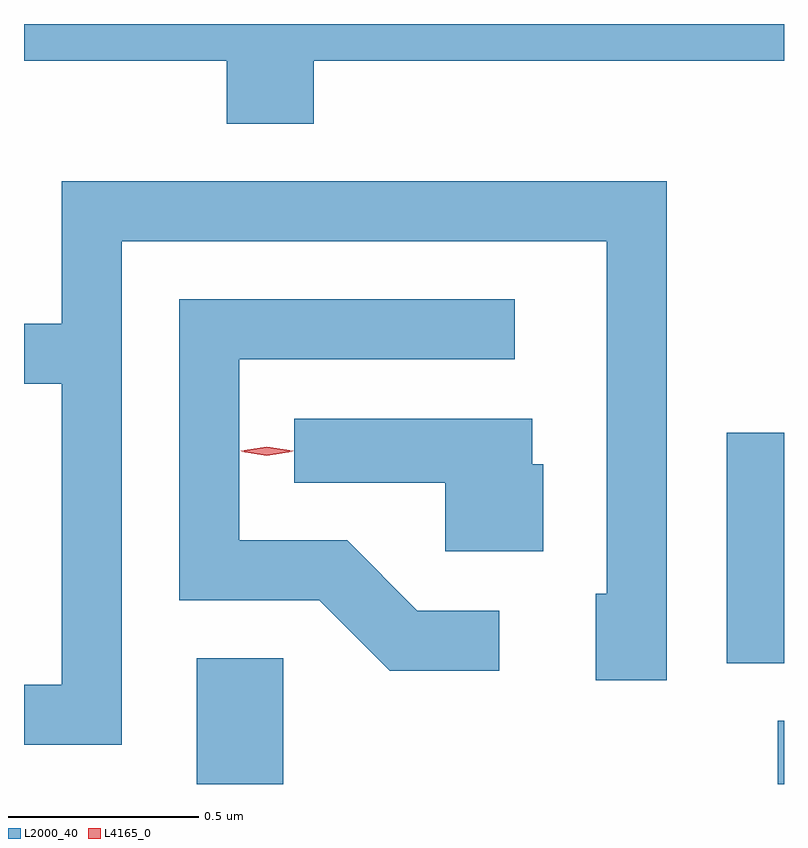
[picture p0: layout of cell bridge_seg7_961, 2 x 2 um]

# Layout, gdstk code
import gdstk
lib = gdstk.Library(unit=1e-6, precision=1e-09)
def R(c, l, rs):  # rectangles x0, y0, x1, y1
    for r in rs: c.add(gdstk.rectangle(r[:2], r[2:], *l))
def P(c, l, *ps):  # polygons
    for p in ps: c.add(gdstk.Polygon(p, *l))
L2000_40 = (2000, 40)
L4165_0 = (4165, 0)

bridge_seg7_961 = lib.new_cell('bridge_seg7_961')
R(bridge_seg7_961, L2000_40, [(605.701,1694.653,605.929,1694.984), (607.231,1694.653,607.247,1694.819), (607.096,1694.971,607.247,1695.578)])
P(bridge_seg7_961, L2000_40, [(606.009,1696.556),(607.247,1696.556),(607.247,1696.653),(605.247,1696.653),(605.247,1696.556),(605.781,1696.556),(605.781,1696.391),(606.009,1696.391)],
  [(605.504,1696.081),(606.781,1696.081),(606.781,1695.154),(606.751,1695.154),(606.751,1694.926),(606.939,1694.926),(606.939,1696.239),(605.346,1696.239),(605.346,1695.864),(605.247,1695.864),(605.247,1695.706),(605.346,1695.706),(605.346,1694.914),(605.247,1694.914),(605.247,1694.756),(605.504,1694.756)],
  [(606.498,1695.109),(606.282,1695.109),(606.097,1695.294),(605.814,1695.294),(605.814,1695.771),(606.538,1695.771),(606.538,1695.929),(605.656,1695.929),(605.656,1695.136),(606.024,1695.136),(606.209,1694.951),(606.498,1694.951)],
  [(606.614,1695.494),(606.584,1695.494),(606.584,1695.614),(605.958,1695.614),(605.958,1695.446),(606.356,1695.446),(606.356,1695.266),(606.614,1695.266)])
P(bridge_seg7_961, L4165_0, [(605.886,1695.517),(605.82,1695.527),(605.819,1695.527),(605.82,1695.528),(605.886,1695.537),(605.952,1695.528),(605.953,1695.527),(605.952,1695.527)],
  [(605.886,1695.52),(605.817,1695.53),(605.817,1695.53),(605.817,1695.53),(605.886,1695.54),(605.955,1695.53),(605.956,1695.53),(605.955,1695.53)])

lib.write_gds('bridge_seg7_961.gds')
